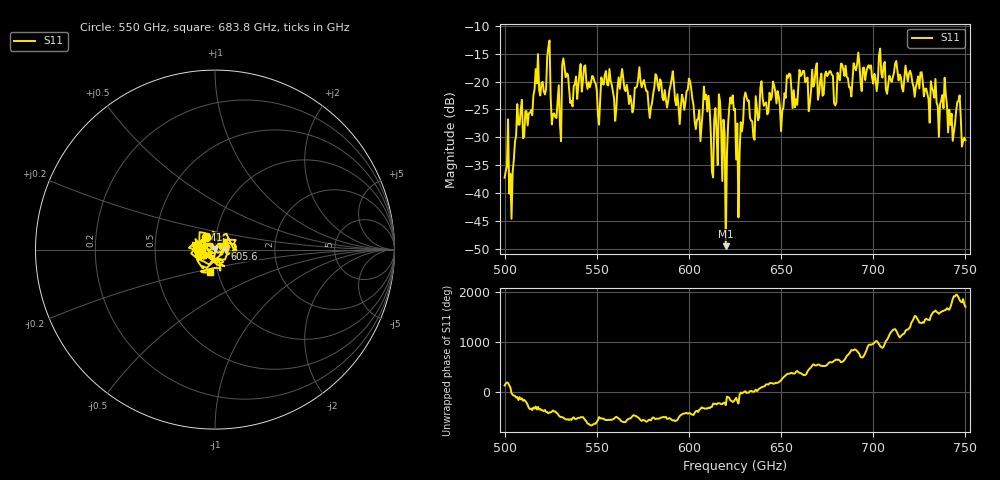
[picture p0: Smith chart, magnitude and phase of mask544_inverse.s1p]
!Created with skrf (http://scikit-rf.org).
# GHz S MA R 50.0
!freq magS11 angS11
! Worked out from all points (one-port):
!   401 points, 500 GHz to 750 GHz, reference 50 ohm
!   lowest |S11| = -49.5 dB at 620 GHz (marker M1), VSWR 1.01, Z = 49.9 + j0.331 ohm
!   |S11| at or under -10 dB: start of sweep to end of sweep
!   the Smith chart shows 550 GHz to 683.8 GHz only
!   S11 on the Smith chart (normalised r, x): 550 GHz: 0.90, +0.13; 605.6 GHz: 1.12, +0.01; 683.8 GHz: 0.92, -0.24
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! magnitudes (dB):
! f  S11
! 500 GHz  -37.2
! 503.8 GHz  -44.6
! 508.1 GHz  -27.7
! 516.9 GHz  -17.8
! 523.8 GHz  -13.8
! 526.9 GHz  -25.7
! 531.2 GHz  -17.0
! 550 GHz  -21.5
! 562.5 GHz  -21.3
! 593.8 GHz  -22.3
! 600 GHz  -19.5
! 605.6 GHz  -25.1
! 609.4 GHz  -22.4
! 612.5 GHz  -36.1
! 615.6 GHz  -35.0
! 620 GHz  -49.5
! 622.5 GHz  -22.9
! 625 GHz  -24.9
! 626.9 GHz  -44.3
! 631.2 GHz  -22.8
! 634.4 GHz  -27.1
! 656.2 GHz  -24.8
! 683.8 GHz  -17.8
! 687.5 GHz  -21.0
! 718.8 GHz  -20.0
! 743.1 GHz  -30.6
! 746.2 GHz  -23.4
! 750 GHz  -30.5
